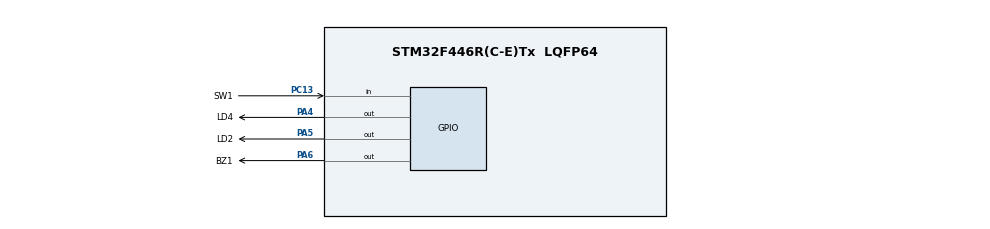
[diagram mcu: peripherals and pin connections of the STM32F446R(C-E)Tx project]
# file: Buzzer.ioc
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Mcu.Family=STM32F4
Mcu.Name=STM32F446R(C-E)Tx
Mcu.Package=LQFP64
NVIC.PriorityGroup=NVIC_PRIORITYGROUP_4
PA13.Mode=Serial_Wire
PA13.Signal=SYS_JTMS-SWDIO
PA14.Mode=Serial_Wire
PA14.Signal=SYS_JTCK-SWCLK
PA4.GPIO_Label=LD4
PA4.Signal=GPIO_Output
PA5.GPIO_Label=LD2
PA5.Signal=GPIO_Output
PA6.GPIO_Label=BZ1
PA6.Signal=GPIO_Output
PC13.GPIO_Label=SW1
PC13.Signal=GPIO_Input
ProjectManager.HeapSize=0x200
ProjectManager.StackSize=0x400
ProjectManager.TargetToolchain=STM32CubeIDE
RCC.CortexFreq_Value=16000000
RCC.USBFreq_Value=96000000
RCC.VCOOutputFreq_Value=192000000
board=custom

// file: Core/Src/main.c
/* USER CODE BEGIN Header */
/**
  ******************************************************************************
  * @file           : main.c
  * @brief          : Main program body
  ******************************************************************************
  * @attention
  *
  * Copyright (c) 2026 STMicroelectronics.
  * All rights reserved.
  *
  * This software is licensed under terms that can be found in the LICENSE file
  * in the root directory of this software component.
  * If no LICENSE file comes with this software, it is provided AS-IS.
  *
  ******************************************************************************
  */
/* USER CODE END Header */
#include "main.h"

void SystemClock_Config(void);
static void MX_GPIO_Init(void);

int main(void)
{

  /* MCU Configuration--------------------------------------------------------*/

  /* Reset of all peripherals, Initializes the Flash interface and the Systick. */
  HAL_Init();

  /* Configure the system clock */
  SystemClock_Config();

  /* Initialize all configured peripherals */
  MX_GPIO_Init();
  /* USER CODE BEGIN 2 */

uint8_t status=0;
  /* USER CODE END 2 */

  /* Infinite loop */
  while (1)
  {

    /* USER CODE BEGIN 3 */
	  if (HAL_GPIO_ReadPin(SW1_GPIO_Port, SW1_Pin) == 0)
	      {
	        HAL_Delay(50);
	        while (HAL_GPIO_ReadPin(SW1_GPIO_Port, SW1_Pin) == 0);
	        HAL_Delay(50);

	        if (status == 0)
	        {
	          status = 1;

	          for (int i = 0; i < 6; i++)
	          {
	            HAL_GPIO_WritePin(LD2_GPIO_Port, LD2_Pin, GPIO_PIN_SET);
	            HAL_Delay(250);
	            HAL_GPIO_WritePin(LD2_GPIO_Port, LD2_Pin, GPIO_PIN_RESET);
	            HAL_Delay(250);
	          }

	          for (int i = 0; i < 2; i++)
	          {
	            HAL_GPIO_WritePin(BZ1_GPIO_Port, BZ1_Pin, GPIO_PIN_SET);
	            HAL_Delay(150);
	            HAL_GPIO_WritePin(BZ1_GPIO_Port, BZ1_Pin, GPIO_PIN_RESET);
	            HAL_Delay(150);
	          }
	        }
	        else{

	            uint8_t second_press = 0;

	            for (int t = 0; t < 400; t++)
	                    {
	                      if (HAL_GPIO_ReadPin(SW1_GPIO_Port, SW1_Pin) == GPIO_PIN_RESET)
	                      {
	                        HAL_Delay(50);
	                        while (HAL_GPIO_ReadPin(SW1_GPIO_Port, SW1_Pin) == GPIO_PIN_RESET);
	                        second_press = 1;
	                        break;
	                      }
	                      HAL_Delay(0);
	                    }
	            if (second_press == 1)
	            {
	              status = 0;

	              HAL_GPIO_WritePin(LD4_GPIO_Port, LD4_Pin, GPIO_PIN_SET);
	              HAL_GPIO_WritePin(BZ1_GPIO_Port, BZ1_Pin, GPIO_PIN_SET);
	              HAL_Delay(300);
	              HAL_GPIO_WritePin(LD4_GPIO_Port, LD4_Pin, GPIO_PIN_RESET);
	              HAL_GPIO_WritePin(BZ1_GPIO_Port, BZ1_Pin, GPIO_PIN_RESET);
	            }
	          }
	        }
	      }

  /* USER CODE END 3 */
}
void SystemClock_Config(void)
{
  RCC_OscInitTypeDef RCC_OscInitStruct = {0};
  RCC_ClkInitTypeDef RCC_ClkInitStruct = {0};

  /** Configure the main internal regulator output voltage
  */
  __HAL_RCC_PWR_CLK_ENABLE();
  __HAL_PWR_VOLTAGESCALING_CONFIG(PWR_REGULATOR_VOLTAGE_SCALE3);

  /** Initializes the RCC Oscillators according to the specified parameters
  * in the RCC_OscInitTypeDef structure.
  */
  RCC_OscInitStruct.OscillatorType = RCC_OSCILLATORTYPE_HSI;
  RCC_OscInitStruct.HSIState = RCC_HSI_ON;
  RCC_OscInitStruct.HSICalibrationValue = RCC_HSICALIBRATION_DEFAULT;
  RCC_OscInitStruct.PLL.PLLState = RCC_PLL_NONE;
  if (HAL_RCC_OscConfig(&RCC_OscInitStruct) != HAL_OK)
  {
    Error_Handler();
  }

  /** Initializes the CPU, AHB and APB buses clocks
  */
  RCC_ClkInitStruct.ClockType = RCC_CLOCKTYPE_HCLK|RCC_CLOCKTYPE_SYSCLK
                              |RCC_CLOCKTYPE_PCLK1|RCC_CLOCKTYPE_PCLK2;
  RCC_ClkInitStruct.SYSCLKSource = RCC_SYSCLKSOURCE_HSI;
  RCC_ClkInitStruct.AHBCLKDivider = RCC_SYSCLK_DIV1;
  RCC_ClkInitStruct.APB1CLKDivider = RCC_HCLK_DIV1;
  RCC_ClkInitStruct.APB2CLKDivider = RCC_HCLK_DIV1;

  if (HAL_RCC_ClockConfig(&RCC_ClkInitStruct, FLASH_LATENCY_0) != HAL_OK)
  {
    Error_Handler();
  }
}

static void MX_GPIO_Init(void)
{
  GPIO_InitTypeDef GPIO_InitStruct = {0};

  /* GPIO Ports Clock Enable */
  __HAL_RCC_GPIOC_CLK_ENABLE();
  __HAL_RCC_GPIOA_CLK_ENABLE();

  /*Configure GPIO pin Output Level */
  HAL_GPIO_WritePin(GPIOA, LD4_Pin|LD2_Pin|BZ1_Pin, GPIO_PIN_RESET);

  /*Configure GPIO pin : SW1_Pin */
  GPIO_InitStruct.Pin = SW1_Pin;
  GPIO_InitStruct.Mode = GPIO_MODE_INPUT;
  GPIO_InitStruct.Pull = GPIO_NOPULL;
  HAL_GPIO_Init(SW1_GPIO_Port, &GPIO_InitStruct);

  /*Configure GPIO pins : LD4_Pin LD2_Pin BZ1_Pin */
  GPIO_InitStruct.Pin = LD4_Pin|LD2_Pin|BZ1_Pin;
  GPIO_InitStruct.Mode = GPIO_MODE_OUTPUT_PP;
  GPIO_InitStruct.Pull = GPIO_NOPULL;
  GPIO_InitStruct.Speed = GPIO_SPEED_FREQ_LOW;
  HAL_GPIO_Init(GPIOA, &GPIO_InitStruct);

}

void Error_Handler(void)
{
  __disable_irq();
  while (1)
  {
  }
}
